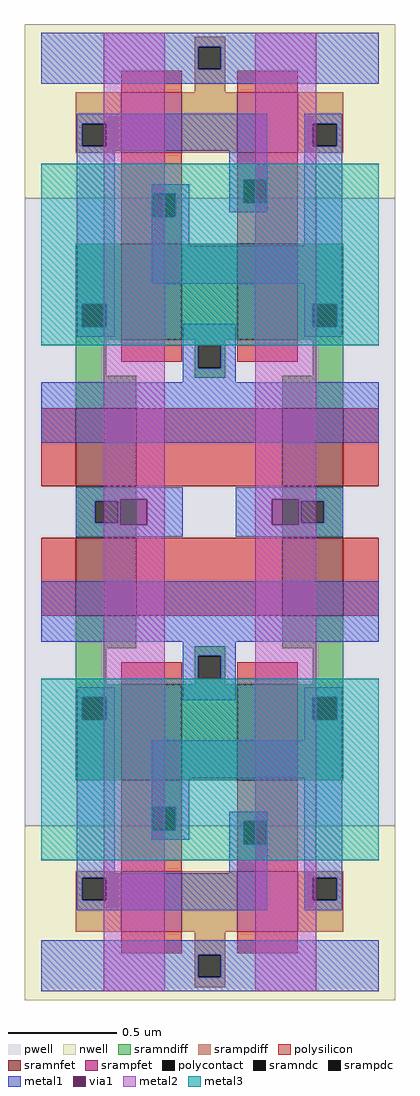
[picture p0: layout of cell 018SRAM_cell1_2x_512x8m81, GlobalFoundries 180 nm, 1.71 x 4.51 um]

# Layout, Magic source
magic
tech gf180mcuD
magscale 1 10
use 018SRAM_cell1_512x8m81  018SRAM_cell1_512x8m81_0
transform 1 0 0 0 -1 420
box -31 -31 311 451
use 018SRAM_cell1_512x8m81  018SRAM_cell1_512x8m81_1
transform 1 0 0 0 1 420
box -31 -31 311 451
<< end >>

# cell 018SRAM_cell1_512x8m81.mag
magic
tech gf180mcuD
magscale 1 10
<< nwell >>
rect -31 290 311 451
<< pwell >>
rect -31 -31 311 290
<< sramnfet >>
rect 58 159 114 248
rect 165 159 221 248
rect 16 24 72 96
rect 207 24 263 96
<< srampfet >>
rect 58 332 114 388
rect 165 332 221 388
<< sramndiff >>
rect 16 192 58 248
rect 16 171 22 192
rect 44 171 58 192
rect 16 159 58 171
rect 114 159 165 248
rect 221 192 263 248
rect 221 171 235 192
rect 257 171 263 192
rect 221 159 263 171
rect 16 126 44 159
rect 126 154 154 159
rect 126 133 129 154
rect 150 133 154 154
rect 16 96 72 126
rect 126 124 154 133
rect 235 126 263 159
rect 207 96 263 126
rect 16 10 72 24
rect 16 -10 34 10
rect 55 -10 72 10
rect 16 -19 72 -10
rect 207 10 263 24
rect 207 -10 224 10
rect 245 -10 263 10
rect 207 -19 263 -10
<< srampdiff >>
rect 126 430 154 439
rect 126 409 129 430
rect 150 409 154 430
rect 126 388 154 409
rect 16 359 58 388
rect 16 338 22 359
rect 44 338 58 359
rect 16 332 58 338
rect 114 332 165 388
rect 221 359 263 388
rect 221 338 235 359
rect 257 338 263 359
rect 221 332 263 338
<< sramndc >>
rect 22 171 44 192
rect 235 171 257 192
rect 129 133 150 154
rect 34 -10 55 10
rect 224 -10 245 10
<< srampdc >>
rect 129 409 150 430
rect 22 338 44 359
rect 235 338 257 359
<< polysilicon >>
rect 58 388 114 408
rect 165 388 221 408
rect 58 294 114 332
rect 58 273 87 294
rect 108 273 114 294
rect 58 248 114 273
rect 165 307 221 332
rect 165 286 171 307
rect 192 286 221 307
rect 165 248 221 286
rect 58 139 114 159
rect 165 139 221 159
rect -16 24 16 96
rect 72 24 207 96
rect 263 24 296 96
<< polycontact >>
rect 87 273 108 294
rect 171 286 192 307
<< metal1 >>
rect -16 430 296 443
rect -16 409 129 430
rect 150 409 296 430
rect -16 396 296 409
rect 17 359 193 368
rect 17 338 22 359
rect 44 338 193 359
rect 17 334 193 338
rect 17 192 52 334
rect 158 307 193 334
rect 86 294 121 303
rect 86 273 87 294
rect 108 273 121 294
rect 158 286 171 307
rect 192 286 193 307
rect 158 277 193 286
rect 227 359 262 368
rect 227 338 235 359
rect 257 338 262 359
rect 86 246 121 273
rect 227 246 262 338
rect 86 211 262 246
rect 17 171 22 192
rect 44 171 52 192
rect 227 192 262 211
rect 17 162 52 171
rect 115 154 164 174
rect 227 171 235 192
rect 257 171 262 192
rect 227 162 262 171
rect 115 133 129 154
rect 150 133 164 154
rect 115 120 164 133
rect -16 64 296 120
rect 16 12 115 23
rect 16 10 57 12
rect 16 -10 34 10
rect 55 -10 57 10
rect 16 -12 57 -10
rect 82 -12 115 12
rect 16 -23 115 -12
rect 164 12 263 23
rect 164 -12 197 12
rect 222 10 263 12
rect 222 -10 224 10
rect 245 -10 263 10
rect 222 -12 263 -10
rect 164 -23 263 -12
<< via1 >>
rect 57 -12 82 12
rect 197 -12 222 12
<< metal2 >>
rect 42 12 98 443
rect 42 -12 57 12
rect 82 -12 98 12
rect 42 -23 98 -12
rect 182 12 238 443
rect 182 -12 197 12
rect 222 -12 238 12
rect 182 -23 238 -12
<< metal3 >>
rect -16 154 296 322
<< properties >>
string FIXED_BBOX -31 -31 311 451
<< end >>
